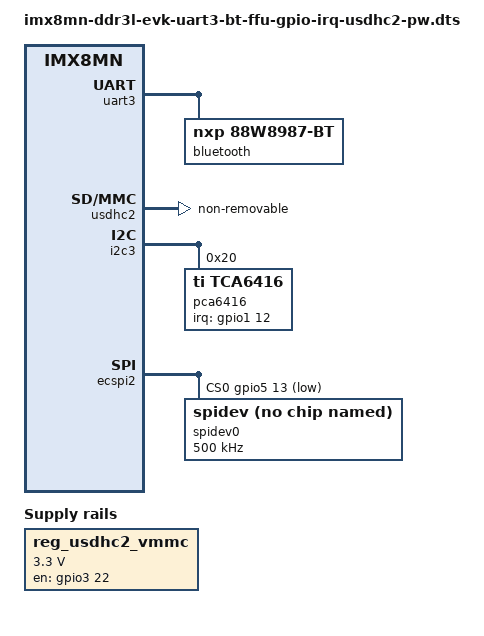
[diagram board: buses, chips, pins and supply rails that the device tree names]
// SPDX-License-Identifier: (GPL-2.0 OR MIT)
/*
 * Copyright 2024 NXP
 */

/dts-v1/;
#include "imx8mn-ddr3l-evk.dts"
&uart1 {
        /delete-node/ bluetooth;
};

&uart3 {
        bluetooth {
                compatible = "nxp,88w8987-bt";
        };
};

&reg_usdhc2_vmmc {
	compatible = "regulator-fixed";
	pinctrl-names = "default";
	pinctrl-0 = <&pinctrl_reg_usdhc2_vmmc>;
	regulator-name = "VSD_3V3";
	regulator-min-microvolt = <3300000>;
	regulator-max-microvolt = <3300000>;
	gpio = <&gpio3 22 GPIO_ACTIVE_HIGH>;
	off-on-delay-us = <20000>;
	enable-active-high;
};


&pinctrl_usdhc2 {
	fsl,pins = <
		MX8MN_IOMUXC_SD2_CLK_USDHC2_CLK		0x190
		MX8MN_IOMUXC_SD2_CMD_USDHC2_CMD		0x1d0
		MX8MN_IOMUXC_SD2_DATA0_USDHC2_DATA0	0x1d0
		MX8MN_IOMUXC_SD2_DATA1_USDHC2_DATA1	0x1d0
		MX8MN_IOMUXC_SD2_DATA2_USDHC2_DATA2	0x1d0
		MX8MN_IOMUXC_SD2_DATA3_USDHC2_DATA3	0x1d0
		MX8MN_IOMUXC_GPIO1_IO04_GPIO1_IO4	0x1d0
	>;
};

&pinctrl_usdhc2_100mhz {
	fsl,pins = <
		MX8MN_IOMUXC_SD2_CLK_USDHC2_CLK		0x194
		MX8MN_IOMUXC_SD2_CMD_USDHC2_CMD		0x1d4
		MX8MN_IOMUXC_SD2_DATA0_USDHC2_DATA0	0x1d4
		MX8MN_IOMUXC_SD2_DATA1_USDHC2_DATA1	0x1d4
		MX8MN_IOMUXC_SD2_DATA2_USDHC2_DATA2	0x1d4
		MX8MN_IOMUXC_SD2_DATA3_USDHC2_DATA3	0x1d4
		MX8MN_IOMUXC_GPIO1_IO04_GPIO1_IO4	0x1d0
	>;
};

&pinctrl_usdhc2_200mhz {
	fsl,pins = <
		MX8MN_IOMUXC_SD2_CLK_USDHC2_CLK		0x196
		MX8MN_IOMUXC_SD2_CMD_USDHC2_CMD		0x1d6
		MX8MN_IOMUXC_SD2_DATA0_USDHC2_DATA0	0x1d6
		MX8MN_IOMUXC_SD2_DATA1_USDHC2_DATA1	0x1d6
		MX8MN_IOMUXC_SD2_DATA2_USDHC2_DATA2	0x1d6
		MX8MN_IOMUXC_SD2_DATA3_USDHC2_DATA3	0x1d6
		MX8MN_IOMUXC_GPIO1_IO04_GPIO1_IO4	0x1d0
	>;
};

&pinctrl_reg_usdhc2_vmmc {
	fsl,pins = <
		MX8MN_IOMUXC_SAI5_RXD1_GPIO3_IO22   0x41
	>;
};

&usdhc2 {
	pinctrl-assert-gpios = <&gpio1 4 GPIO_ACTIVE_HIGH>;
	/delete-property/ cd-gpios;
	keep-power-in-suspend;
	non-removable;
	wakeup-source;
	fsl,sdio-async-interrupt-enabled;
};

&usdhc1 {
	status = "disabled";
	/delete-node/ wifi_wake_host;
};

&micfil {
   status = "disabled";
};

&i2c3 {
	pca6416: gpio@20 {
		compatible = "ti,tca6416";
		reg = <0x20>;
		gpio-controller;
		#gpio-cells = <2>;
		interrupt-parent = <&gpio1>;
		interrupts = <12 IRQ_TYPE_EDGE_FALLING>;
		pinctrl-names = "default";
		pinctrl-0 = <&pinctrl_pca6416_irq>;
	};
};

&ecspi2 {
	#address-cells = <1>;
	#size-cells = <0>;
	fsl,spi-num-chipselects = <1>;
	pinctrl-names = "default";
	pinctrl-0 = <&pinctrl_espi2>;
	cs-gpios = <&gpio5 13 GPIO_ACTIVE_LOW>;
	status = "okay";

	spidev0: spi@0 {
		reg = <0>;
		compatible = "rohm,dh2228fv";
		spi-max-frequency = <500000>;
	};

};

&iomuxc {
	pinctrl_pca6416_irq: pca6416irq {
		fsl,pins = <
			MX8MN_IOMUXC_GPIO1_IO12_GPIO1_IO12		0x141
		>;
	};

	pinctrl_espi2: espi2grp {
		fsl,pins = <
			MX8MN_IOMUXC_ECSPI2_SCLK_ECSPI2_SCLK		0x082
			MX8MN_IOMUXC_ECSPI2_MOSI_ECSPI2_MOSI		0x082
			MX8MN_IOMUXC_ECSPI2_MISO_ECSPI2_MISO		0x082
			MX8MN_IOMUXC_ECSPI2_SS0_GPIO5_IO13		0x000
		>;
	};
};
